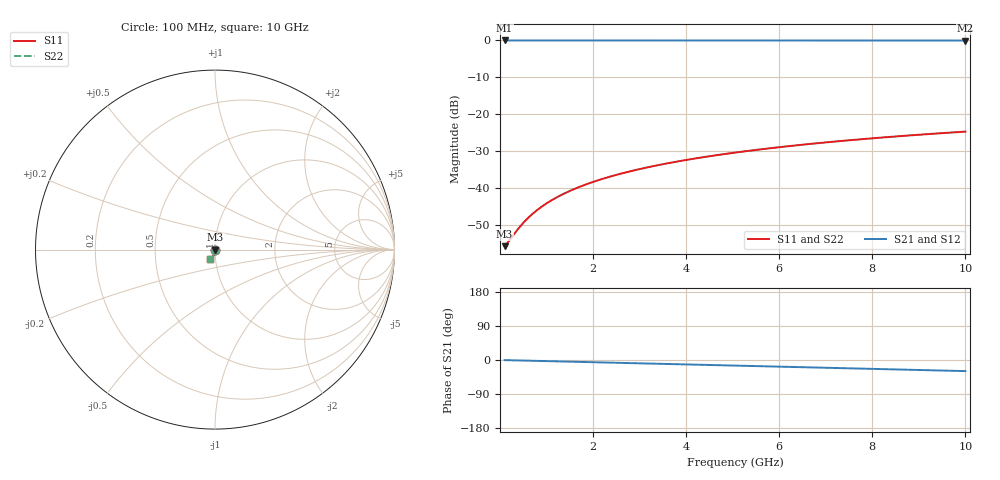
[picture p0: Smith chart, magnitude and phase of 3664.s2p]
# Hz S RI R 50.00
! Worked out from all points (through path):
!   100 points, 100 MHz to 10 GHz, reference 50 ohm
!   highest |S21| = -0.01 dB at 100 MHz (marker M1); lowest = 0.0 dB at 10 GHz (marker M2)
!   group delay of S21, straight-line fit = 8.14 ps
!   lowest |S11| = -55.7 dB at 100 MHz (marker M3), VSWR 1.00, Z = 50.2 - j0.0613 ohm
!   |S11| at or under -10 dB: start of sweep to end of sweep
!   |S22| runs from -55.7 to -24.7 dB; largest |S21 - S12| = 0
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1e8  0.00153 -0.000611  0.9985 -0.00509  0.9985 -0.00509  0.00153 -0.000611
2e8  0.00153 -0.00122  0.9984 -0.0102  0.9984 -0.0102  0.00153 -0.00122
4e8  0.0015 -0.00245  0.9982 -0.0203  0.9982 -0.0203  0.0015 -0.00245
5e8  0.00147 -0.00306  0.9981 -0.0254  0.9981 -0.0254  0.00147 -0.00306
6e8  0.00144 -0.00367  0.9979 -0.0305  0.9979 -0.0305  0.00144 -0.00367
7e8  0.0014 -0.00428  0.9978 -0.0356  0.9978 -0.0356  0.0014 -0.00428
8e8  0.00136 -0.00489  0.9976 -0.0407  0.9976 -0.0407  0.00136 -0.00489
1e9  0.00125 -0.00611  0.9971 -0.0508  0.9971 -0.0508  0.00125 -0.00611
1.2e9  0.00111 -0.00732  0.9965 -0.061  0.9965 -0.061  0.00111 -0.00732
1.5e9  0.000861 -0.00914  0.9954 -0.0762  0.9954 -0.0762  0.000861 -0.00914
1.8e9  0.000555 -0.011  0.9941 -0.0914  0.9941 -0.0914  0.000555 -0.011
2.1e9  0.000193 -0.0128  0.9925 -0.1066  0.9925 -0.1066  0.000193 -0.0128
2.5e9  -0.000375 -0.0152  0.9901 -0.1268  0.9901 -0.1268  -0.000375 -0.0152
2.9e9  -0.00104 -0.0175  0.9872 -0.147  0.9872 -0.147  -0.00104 -0.0175
3.4e9  -0.00201 -0.0204  0.9831 -0.1721  0.9831 -0.1721  -0.00201 -0.0204
4.2e9  -0.00386 -0.025  0.9751 -0.2121  0.9751 -0.2121  -0.00386 -0.025
5.1e9  -0.00639 -0.0299  0.9641 -0.2567  0.9641 -0.2567  -0.00639 -0.0299
5.9e9  -0.00901 -0.0341  0.9526 -0.2958  0.9526 -0.2958  -0.00901 -0.0341
6.7e9  -0.012 -0.0381  0.9395 -0.3345  0.9395 -0.3345  -0.012 -0.0381
7.5e9  -0.0152 -0.0418  0.9248 -0.3726  0.9248 -0.3726  -0.0152 -0.0418
8.4e9  -0.0193 -0.0457  0.9064 -0.4147  0.9064 -0.4147  -0.0193 -0.0457
1e10  -0.0273 -0.0516  0.8688 -0.4874  0.8688 -0.4874  -0.0273 -0.0516
